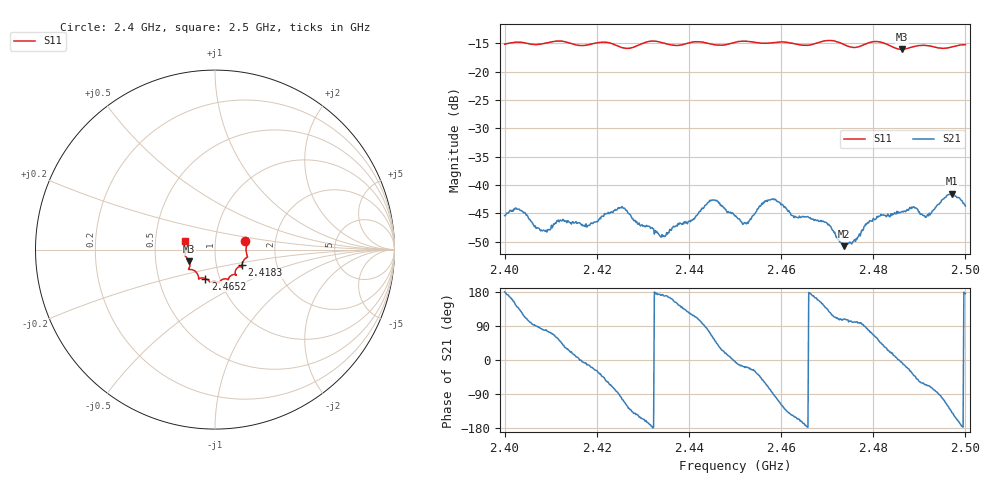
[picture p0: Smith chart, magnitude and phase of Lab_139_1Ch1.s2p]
# Hz S RI R 50
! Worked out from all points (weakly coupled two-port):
!   601 points, 2.4 GHz to 2.5 GHz, reference 50 ohm
!   highest |S21| = -41.51 dB at 2.4972 GHz (marker M1); lowest = -50.8 dB at 2.4737 GHz (marker M2)
!   lowest |S11| = -16.1 dB at 2.4862 GHz (marker M3), VSWR 1.37, Z = 37.2 - j4.89 ohm
!   |S11| at or under -10 dB: start of sweep to end of sweep
!   S12 and S22 are empty: the file has one direction only
!   S11 on the Smith chart (normalised r, x): 2.4 GHz: 1.40, +0.13; 2.4183 GHz: 1.33, -0.24; 2.4652 GHz: 0.85, -0.28; 2.5 GHz: 0.71, +0.07
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2.4e9  0.168 0.0469  -0.00538 1.93e-05  0 0  0 0
2.402833e9  0.1789 0.0334  -0.00463 0.00402  0 0  0 0
2.408667e9  0.1759 -0.0227  0.00078 0.00386  0 0  0 0
2.411833e9  0.1816 -0.0408  0.00291 0.00373  0 0  0 0
2.416667e9  0.1552 -0.0682  0.00443 -0.000112  0 0  0 0
2.418333e9  0.1499 -0.0865  0.00427 -0.00105  0 0  0 0
2.4255e9  0.1304 -0.0974  -0.00162 -0.00626  0 0  0 0
2.433333e9  0.117 -0.1415  -0.00373 0.00043  0 0  0 0
2.440833e9  0.0747 -0.1664  -0.00226 0.00438  0 0  0 0
2.445e9  0.0624 -0.1628  0.0033 0.00652  0 0  0 0
2.45e9  0.0259 -0.1797  0.00532 -0.000363  0 0  0 0
2.452333e9  0.0202 -0.1839  0.00437 -0.00144  0 0  0 0
2.458333e9  -0.0187 -0.1791  -7.86e-05 -0.00754  0 0  0 0
2.465167e9  -0.0544 -0.1614  -0.00519 -0.000732  0 0  0 0
2.466667e9  -0.0707 -0.1578  -0.00498 0.00072  0 0  0 0
2.470167e9  -0.091 -0.1644  -0.00301 0.00329  0 0  0 0
2.473667e9  -0.0935 -0.1458  -0.000899 0.00275  0 0  0 0
2.483333e9  -0.1415 -0.0966  0.00487 0.00228  0 0  0 0
2.486167e9  -0.1434 -0.0641  0.00578 -0.000553  0 0  0 0
2.491833e9  -0.1669 -0.0287  0.00209 -0.0051  0 0  0 0
2.497167e9  -0.1629 0.0276  -0.00645 -0.00539  0 0  0 0
2.5e9  -0.1661 0.0474  -0.0065 0.00056  0 0  0 0
